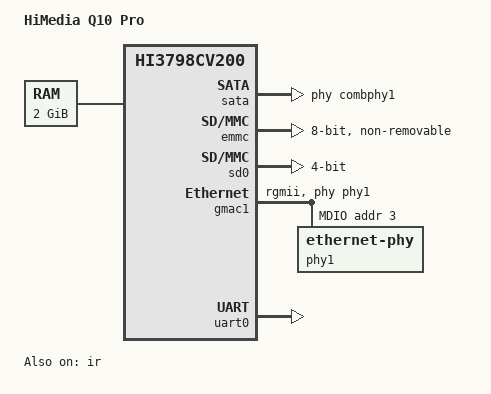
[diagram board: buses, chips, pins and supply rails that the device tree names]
// SPDX-License-Identifier: GPL-2.0
/*
 * DTS for the HiMedia Q10 Pro (HiSilicon Hi3798CV200)
 *
 * ⚠️ UNTESTED ON HARDWARE. Every address, interrupt and clock below is taken from a
 * primary source — the stock firmware's own device tree (extracted from boot.img), the
 * Hi3798CV200 register map in the vendor BSP, and a live read-only recon of the box —
 * but nothing here has been booted. Where a value is a guess it says so.
 *
 * Requires: 0001-clk-hisilicon-crg-hi3798cv200-add-SATA-clocks.patch
 *           (mainline does not register the SATA clocks)
 *
 * Bring-up order matters. First boot should prove serial + eMMC + Ethernet only; USB3 is
 * therefore left disabled below, because an unverified PHY pairing that wedges the USB
 * controller during probe would be indistinguishable from a kernel that failed to boot.
 *
 * ref: docs/261010-himedia-q10-pro-vendor-dtb.md
 * ref: docs/261010-himedia-q10-pro-recon-findings.md
 */

/dts-v1/;

#include <dt-bindings/gpio/gpio.h>
#include <dt-bindings/phy/phy.h>
#include "hi3798cv200.dtsi"

/ {
	model = "HiMedia Q10 Pro";
	compatible = "himedia,q10-pro", "hisilicon,hi3798cv200";

	aliases {
		serial0 = &uart0;
		serial2 = &uart2;
	};

	chosen {
		/* Confirmed from the stock cmdline: console=ttyAMA0,115200 */
		stdout-path = "serial0:115200n8";
	};

	memory@0 {
		device_type = "memory";
		/*
		 * 2 GB. The stock cmdline reserves 56 MB for the vendor media zone
		 * (mmz=ddr,0,0,56M) and boots with mem=1993M; mainline has no VPU driver,
		 * so that reservation is not needed and the full 2 GB is given to Linux.
		 */
		reg = <0x0 0x0 0x0 0x80000000>;
	};
};

/*
 * SATA — the reason this box is worth converting.
 *
 * Confirmed: base 0xf9900000 (soc-relative 0x9900000) and IRQ 0x46 both appear in the
 * stock device tree, and the stock tree also uses compatible "generic-ahci", so the
 * mainline generic AHCI driver is the right one.
 *
 * The four clocks are PERI_CRG42 (CRG offset 0xa8) bits 0..3 and the four resets are
 * bits 8..11 of the same register, per the Hi3798CV200 register map:
 *   bit 0 sata_bus_cken        bit 8  sata_bus_srst_req
 *   bit 1 sata_rx0_cken        bit 9  sata_cko_alive_srst_req
 *   bit 2 sata_cko_alive_cken  bit 10 sata_rx0_srst_req
 *   bit 3 sata_tx0_cken        bit 11 sata0_srst_req
 */
&soc {
	sata: sata@9900000 {
		compatible = "generic-ahci";
		reg = <0x9900000 0x1000>;
		interrupts = <GIC_SPI 70 IRQ_TYPE_LEVEL_HIGH>;
		clocks = <&crg HISTB_SATA_BUS_CLK>,
			 <&crg HISTB_SATA_RX0_CLK>,
			 <&crg HISTB_SATA_CKO_ALIVE_CLK>,
			 <&crg HISTB_SATA_TX0_CLK>;
		resets = <&crg 0xa8 8>,
			 <&crg 0xa8 9>,
			 <&crg 0xa8 10>,
			 <&crg 0xa8 11>;
		reset-names = "bus", "cko-alive", "rx0", "sata0";
		phys = <&combphy1 PHY_TYPE_SATA>;
		phy-names = "sata-phy";
		status = "okay";
	};

	/*
	 * USB 3.0. Both controllers exist and both are live under the stock firmware.
	 * This box's stock kernel binds the SuperSpeed port on xhci1 (f98b0000), but the
	 * combo-PHY pairing is the open question — see the note under &combphy1 — so both
	 * stay disabled until first boot succeeds without them.
	 *
	 * Needs no kernel patch: mainline already registers both instances' clocks
	 * (the plain set for xhci0, the *_CLK1 set for xhci1) as gates on CRG 0xb0.
	 */
	xhci0: usb@98a0000 {
		compatible = "hisilicon,hi3798cv200-xhci";
		reg = <0x98a0000 0x10000>;
		interrupts = <GIC_SPI 69 IRQ_TYPE_LEVEL_HIGH>;
		clocks = <&crg HISTB_USB3_BUS_CLK>,
			 <&crg HISTB_USB3_UTMI_CLK>,
			 <&crg HISTB_USB3_PIPE_CLK>,
			 <&crg HISTB_USB3_SUSPEND_CLK>;
		clock-names = "bus", "utmi", "pipe", "suspend";
		resets = <&crg 0xb0 12>;
		reset-names = "soft";
		/* ⚠️ GUESS: the usb2-phy port pairing is not stated by any source I have. */
		phys = <&usb2_phy2_port0>, <&combphy0 PHY_TYPE_USB3>;
		phy-names = "usb", "combo";
		status = "disabled";
	};

	xhci1: usb@98b0000 {
		compatible = "hisilicon,hi3798cv200-xhci";
		reg = <0x98b0000 0x10000>;
		interrupts = <GIC_SPI 85 IRQ_TYPE_LEVEL_HIGH>;
		clocks = <&crg HISTB_USB3_BUS_CLK1>,
			 <&crg HISTB_USB3_UTMI_CLK1>,
			 <&crg HISTB_USB3_PIPE_CLK1>,
			 <&crg HISTB_USB3_SUSPEND_CLK1>;
		clock-names = "bus", "utmi", "pipe", "suspend";
		resets = <&crg 0xb0 13>;
		reset-names = "soft";
		/*
		 * ⚠️ Deliberately NO combo phy. combphy1 is taken by SATA above, and these
		 * are the same lane — so this controller is USB 2.0 only once SATA is in use.
		 * ⚠️ GUESS: both the usb2-phy pairing and reset bit 13 are unverified.
		 */
		phys = <&usb2_phy1_port1>;
		phy-names = "usb";
		status = "disabled";
	};
};

/*
 * combphy1 carries SATA.
 *
 * The mux is already upstream — hi3798cv200.dtsi declares
 * `hisilicon,mode-select-bits = <0x0008 11 (0x3 << 11)>`, which is exactly the vendor's
 * PERI_CTRL offset 0x8 with BIT(11)|BIT(12), encoding 00=PCIe, 01=USB3, 10=SATA. So only
 * the clock rate needs changing: the vendor's SATA path runs this PHY from the 25 MHz
 * VPLL, while the dtsi default is 100 MHz.
 *
 * The combphy1 clock's parent is a mux over {100m, 25m} with CLK_SET_RATE_PARENT, so
 * asking for 25 MHz here selects the 25 MHz parent. (The reference port instead points
 * assigned-clock-parents at driver-private clock ids 0x50/0x42, which are not part of the
 * published binding — this form avoids depending on those.)
 *
 * ⛔ Taking this lane for SATA costs the second USB3 controller its SuperSpeed capability.
 *    That is a hardware constraint, not a configuration choice.
 */
&combphy1 {
	assigned-clocks = <&crg HISTB_COMBPHY1_CLK>;
	assigned-clock-rates = <25000000>;
};

/* eMMC — 16 GB, non-removable, 8-bit. */
&emmc {
	/*
	 * ⚠️ NO pinctrl. Poplar points at a board pinctrl file that does not exist for this
	 * box, so the pads are left as the bootloader muxed them. eMMC is the device the
	 * bootloader itself just read the kernel from, so it is the safest case for this
	 * assumption — but it IS an assumption, and a first boot that cannot find a root
	 * device should suspect it.
	 */
	bus-width = <8>;
	cap-mmc-highspeed;
	non-removable;
	status = "okay";
};

/* SD card slot (the box has one on the side). */
&sd0 {
	bus-width = <4>;
	cap-sd-highspeed;
	status = "okay";
};

/*
 * Gigabit Ethernet. The stock kernel binds f9841000.ethernet, i.e. gmac1 — not gmac0 —
 * and the stock device tree gives phy-mode "rgmii" with the PHY at address 3.
 */
&gmac1 {
	phy-handle = <&phy1>;
	phy-mode = "rgmii";
	status = "okay";

	mdio {
		#address-cells = <1>;
		#size-cells = <0>;

		phy1: ethernet-phy@3 {
			reg = <3>;
		};
	};
};

&uart0 {
	status = "okay";
};

&ir {
	status = "okay";
};

/*
 * ⛔ PCIe stays DISABLED. It is the third option on combphy1's mux, so enabling it would
 * contend with SATA — and the recon found no PCIe device on this board anyway
 * (/sys/bus/pci/devices/ is empty; the Wi-Fi module is SDIO on mmc2).
 */
